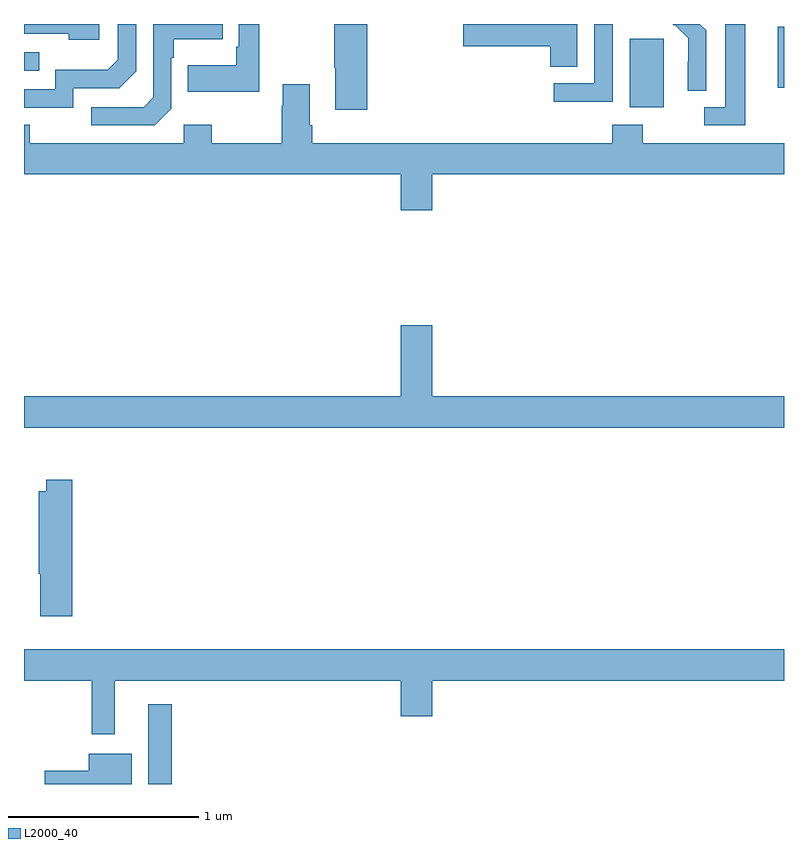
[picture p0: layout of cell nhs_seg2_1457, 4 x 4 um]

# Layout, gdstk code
import gdstk
lib = gdstk.Library(unit=1e-6, precision=1e-09)
def R(c, l, rs):  # rectangles x0, y0, x1, y1
    for r in rs: c.add(gdstk.rectangle(r[:2], r[2:], *l))
def P(c, l, *ps):  # polygons
    for p in ps: c.add(gdstk.Polygon(p, *l))
L2000_40 = (2000, 40)

nhs_seg2_1457 = lib.new_cell('nhs_seg2_1457')
R(nhs_seg2_1457, L2000_40, [(187.655,605.8,187.777,606.22), (190.187,609.362,190.366,609.723), (190.967,609.465,191,609.785), (187,609.555,187.079,609.651)])
P(nhs_seg2_1457, L2000_40, [(187.26,609.462),(187.5,609.462),(187.59,609.552),(187.59,609.8),(187.494,609.8),(187.494,609.612),(187.441,609.559),(187.164,609.559),(187.164,609.456),(187,609.456),(187,609.36),(187.26,609.36)],
  [(188.807,609.8),(188.632,609.8),(188.632,609.571),(188.639,609.571),(188.639,609.348),(188.807,609.348)],
  [(187.776,609.354),(187.776,609.623),(187.789,609.623),(187.789,609.719),(188.045,609.719),(188.045,609.8),(187.68,609.8),(187.68,609.414),(187.629,609.363),(187.353,609.363),(187.353,609.267),(187.689,609.267)],
  [(190.795,609.8),(190.691,609.8),(190.691,609.363),(190.581,609.363),(190.581,609.267),(190.795,609.267)],
  [(187.396,609.8),(187,609.8),(187,609.75),(187.235,609.75),(187.235,609.716),(187.396,609.716)],
  [(190.59,609.766),(190.556,609.8),(190.414,609.8),(190.422,609.792),(190.425,609.795),(190.496,609.725),(190.496,609.602),(190.494,609.602),(190.494,609.448),(190.59,609.448)],
  [(190.098,609.8),(190.002,609.8),(190.002,609.489),(189.789,609.489),(189.789,609.391),(190.098,609.391)],
  [(189.913,609.8),(189.312,609.8),(189.312,609.683),(189.77,609.683),(189.77,609.574),(189.913,609.574)],
  [(188.239,609.8),(188.13,609.8),(188.13,609.679),(188.118,609.679),(188.118,609.583),(187.861,609.583),(187.861,609.443),(188.239,609.443)],
  [(189.148,609.008),(191,609.008),(191,609.172),(190.257,609.172),(190.257,609.271),(190.097,609.271),(190.097,609.172),(188.516,609.172),(188.516,609.268),(188.503,609.268),(188.503,609.484),(188.363,609.484),(188.363,609.371),(188.356,609.371),(188.356,609.172),(187.989,609.172),(187.989,609.271),(187.842,609.271),(187.842,609.172),(187.029,609.172),(187.029,609.271),(187,609.271),(187,609.008),(188.984,609.008),(188.984,608.82),(189.148,608.82)],
  [(191,607.84),(189.148,607.84),(189.148,608.215),(188.984,608.215),(188.984,607.84),(187,607.84),(187,607.676),(191,607.676)],
  [(187.253,607.402),(187.118,607.402),(187.118,607.342),(187.078,607.342),(187.078,606.907),(187.085,606.907),(187.085,606.684),(187.253,606.684)],
  [(187.477,606.344),(188.984,606.344),(188.984,606.156),(189.148,606.156),(189.148,606.344),(191,606.344),(191,606.508),(187,606.508),(187,606.344),(187.356,606.344),(187.356,606.063),(187.477,606.063)],
  [(187.567,605.959),(187.34,605.959),(187.34,605.871),(187.11,605.871),(187.11,605.8),(187.567,605.8)])

lib.write_gds('nhs_seg2_1457.gds')
